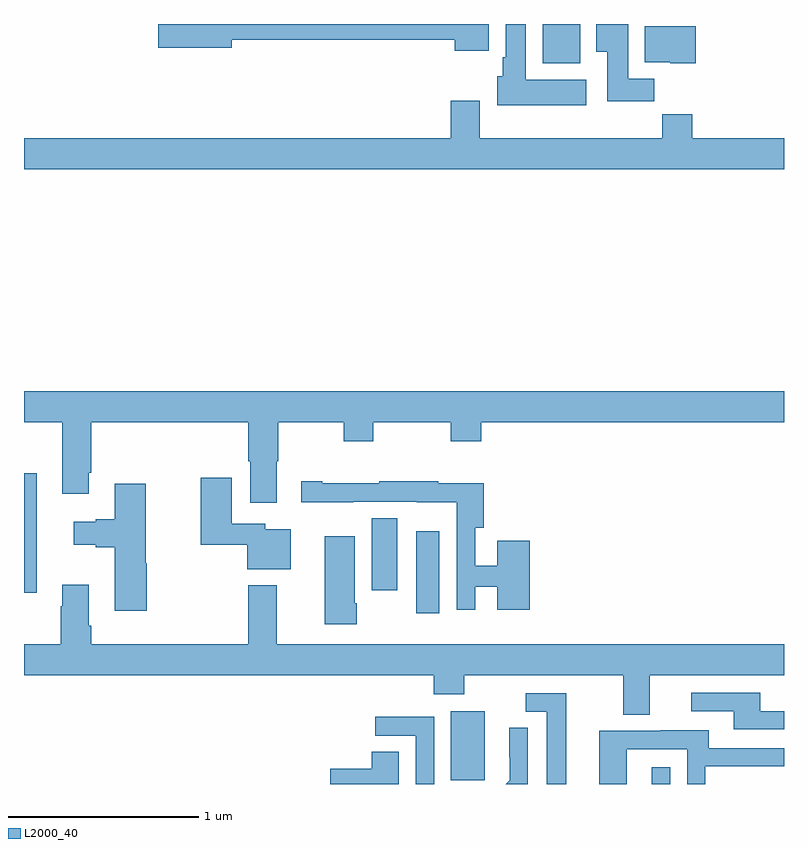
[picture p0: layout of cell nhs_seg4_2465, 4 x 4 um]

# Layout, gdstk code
import gdstk
lib = gdstk.Library(unit=1e-6, precision=1e-09)
def R(c, l, rs):  # rectangles x0, y0, x1, y1
    for r in rs: c.add(gdstk.rectangle(r[:2], r[2:], *l))
def P(c, l, *ps):  # polygons
    for p in ps: c.add(gdstk.Polygon(p, *l))
L2000_40 = (2000, 40)

nhs_seg4_2465 = lib.new_cell('nhs_seg4_2465')
R(nhs_seg4_2465, L2000_40, [(242.303,810.9,242.4,810.988), (241.247,810.921,241.426,811.282), (241.064,811.8,241.186,812.23), (239,811.907,239.066,812.536), (240.83,811.92,240.964,812.3), (241.73,814.694,241.927,814.9)])
P(nhs_seg4_2465, L2000_40, [(241.96,814.606),(241.642,814.606),(241.642,814.9),(241.535,814.9),(241.535,814.726),(241.52,814.726),(241.52,814.626),(241.49,814.626),(241.49,814.472),(241.96,814.472)],
  [(241.447,814.9),(239.706,814.9),(239.706,814.774),(240.094,814.774),(240.094,814.816),(241.268,814.816),(241.268,814.76),(241.447,814.76)],
  [(242.318,814.612),(242.179,814.612),(242.179,814.9),(242.012,814.9),(242.012,814.753),(242.069,814.753),(242.069,814.494),(242.318,814.494)],
  [(242.536,814.888),(242.267,814.888),(242.267,814.7),(242.4,814.7),(242.4,814.694),(242.536,814.694)],
  [(243,814.3),(242.516,814.3),(242.516,814.424),(242.359,814.424),(242.359,814.3),(241.399,814.3),(241.399,814.495),(241.247,814.495),(241.247,814.3),(239,814.3),(239,814.136),(243,814.136)],
  [(240.331,812.6),(240.339,812.6),(240.339,812.804),(240.682,812.804),(240.682,812.705),(240.837,812.705),(240.837,812.804),(241.246,812.804),(241.246,812.705),(241.406,812.705),(241.406,812.804),(243,812.804),(243,812.968),(239,812.968),(239,812.804),(239.201,812.804),(239.201,812.427),(239.341,812.427),(239.341,812.539),(239.354,812.539),(239.354,812.804),(240.179,812.804),(240.179,812.599),(240.191,812.599),(240.191,812.379),(240.331,812.379)],
  [(240.403,812.242),(240.27,812.242),(240.27,812.269),(240.094,812.269),(240.094,812.512),(239.929,812.512),(239.929,812.159),(240.176,812.159),(240.176,812.03),(240.403,812.03)],
  [(241.374,811.938),(241.49,811.938),(241.49,811.818),(241.661,811.818),(241.661,812.179),(241.49,812.179),(241.49,812.048),(241.374,812.048),(241.374,812.249),(241.421,812.249),(241.421,812.484),(241.181,812.484),(241.181,812.494),(240.871,812.494),(240.871,812.484),(240.571,812.484),(240.571,812.494),(240.459,812.494),(240.459,812.384),(240.734,812.384),(240.734,812.385),(241.068,812.385),(241.068,812.384),(241.278,812.384),(241.278,811.818),(241.374,811.818)],
  [(239.645,812.063),(239.64,812.063),(239.64,812.479),(239.477,812.479),(239.477,812.294),(239.378,812.294),(239.378,812.281),(239.262,812.281),(239.262,812.159),(239.378,812.159),(239.378,812.147),(239.477,812.147),(239.477,811.812),(239.645,811.812)],
  [(240.75,811.852),(240.742,811.852),(240.742,812.203),(240.584,812.203),(240.584,811.74),(240.75,811.74)],
  [(242.293,811.472),(243,811.472),(243,811.636),(240.331,811.636),(240.331,811.945),(240.179,811.945),(240.179,811.636),(239.354,811.636),(239.354,811.732),(239.341,811.732),(239.341,811.948),(239.201,811.948),(239.201,811.835),(239.194,811.835),(239.194,811.636),(239,811.636),(239,811.472),(241.157,811.472),(241.157,811.373),(241.317,811.373),(241.317,811.472),(242.153,811.472),(242.153,811.264),(242.293,811.264)],
  [(243,811.284),(242.875,811.284),(242.875,811.38),(242.511,811.38),(242.511,811.284),(242.735,811.284),(242.735,811.188),(243,811.188)],
  [(241.855,811.377),(241.641,811.377),(241.641,811.281),(241.751,811.281),(241.751,810.9),(241.855,810.9)],
  [(241.158,811.254),(240.849,811.254),(240.849,811.155),(241.062,811.155),(241.062,810.9),(241.158,810.9)],
  [(241.65,811.196),(241.554,811.196),(241.554,811.042),(241.556,811.042),(241.556,810.92),(241.536,810.9),(241.65,810.9)],
  [(242.172,811.083),(242.49,811.083),(242.49,810.9),(242.586,810.9),(242.586,810.993),(243,810.993),(243,811.089),(242.605,811.089),(242.605,811.183),(242.351,811.183),(242.351,811.179),(242.027,811.179),(242.027,810.9),(242.172,810.9)],
  [(240.973,811.07),(240.83,811.07),(240.83,810.98),(240.612,810.98),(240.612,810.9),(240.973,810.9)])

lib.write_gds('nhs_seg4_2465.gds')
